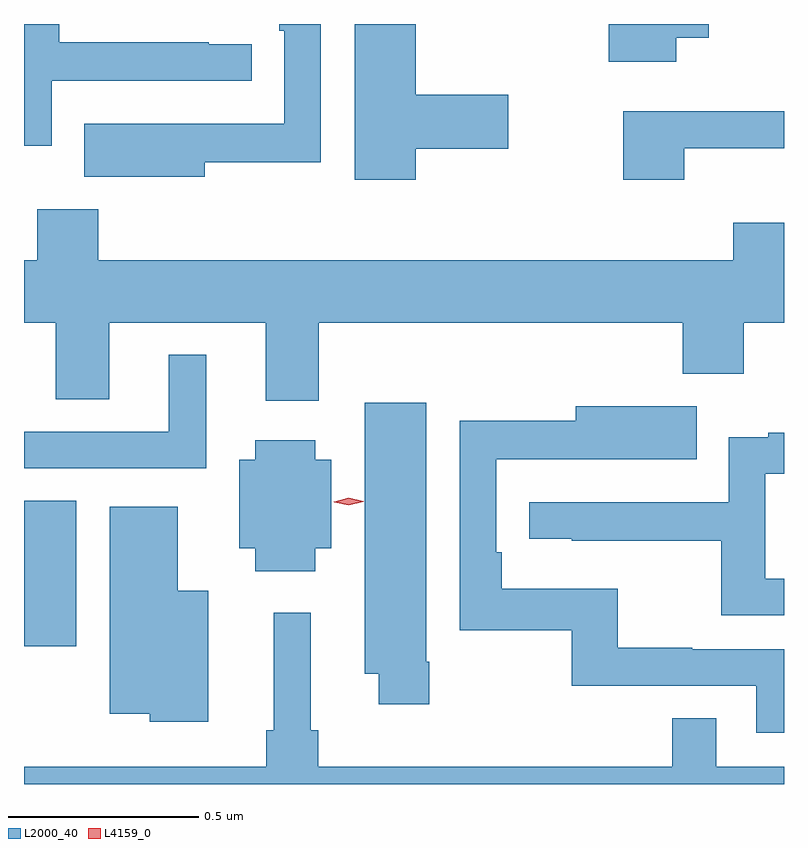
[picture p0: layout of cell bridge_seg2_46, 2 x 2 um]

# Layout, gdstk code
import gdstk
lib = gdstk.Library(unit=1e-6, precision=1e-09)
def R(c, l, rs):  # rectangles x0, y0, x1, y1
    for r in rs: c.add(gdstk.rectangle(r[:2], r[2:], *l))
def P(c, l, *ps):  # polygons
    for p in ps: c.add(gdstk.Polygon(p, *l))
L2000_40 = (2000, 40)
L4159_0 = (4159, 0)

bridge_seg2_46 = lib.new_cell('bridge_seg2_46')
R(bridge_seg2_46, L2000_40, [(981.197,640.124,981.334,640.508)])
P(bridge_seg2_46, L2000_40, [(982.914,641.726),(982.999,641.726),(982.999,641.762),(982.736,641.762),(982.736,641.663),(982.914,641.663)],
  [(981.27,641.613),(981.796,641.613),(981.796,641.709),(981.683,641.709),(981.683,641.714),(981.29,641.714),(981.29,641.762),(981.197,641.762),(981.197,641.441),(981.27,641.441)],
  [(982.228,641.434),(982.471,641.434),(982.471,641.576),(982.228,641.576),(982.228,641.762),(982.067,641.762),(982.067,641.352),(982.228,641.352)],
  [(981.673,641.398),(981.978,641.398),(981.978,641.762),(981.869,641.762),(981.869,641.744),(981.882,641.744),(981.882,641.499),(981.569,641.499),(981.569,641.5),(981.355,641.5),(981.355,641.36),(981.673,641.36)],
  [(982.934,641.435),(983.197,641.435),(983.197,641.532),(983.017,641.532),(983.017,641.533),(982.774,641.533),(982.774,641.352),(982.934,641.352)],
  [(981.973,640.976),(982.931,640.976),(982.931,640.841),(983.091,640.841),(983.091,640.976),(983.197,640.976),(983.197,641.239),(983.063,641.239),(983.063,641.14),(981.392,641.14),(981.392,641.275),(981.232,641.275),(981.232,641.14),(981.197,641.14),(981.197,640.976),(981.281,640.976),(981.281,640.774),(981.421,640.774),(981.421,640.976),(981.833,640.976),(981.833,640.77),(981.973,640.77)],
  [(981.676,640.891),(981.578,640.891),(981.578,640.689),(981.197,640.689),(981.197,640.593),(981.676,640.593)],
  [(982.263,640.084),(982.255,640.084),(982.255,640.765),(982.094,640.765),(982.094,640.052),(982.13,640.052),(982.13,639.972),(982.263,639.972)],
  [(983.197,640.116),(982.955,640.116),(982.955,640.121),(982.759,640.121),(982.759,640.276),(982.454,640.276),(982.454,640.372),(982.44,640.372),(982.44,640.617),(982.753,640.617),(982.753,640.616),(982.967,640.616),(982.967,640.756),(982.649,640.756),(982.649,640.718),(982.344,640.718),(982.344,640.167),(982.638,640.167),(982.638,640.02),(983.124,640.02),(983.124,639.897),(983.197,639.897)],
  [(983.197,640.302),(983.148,640.302),(983.148,640.578),(983.197,640.578),(983.197,640.687),(983.155,640.687),(983.155,640.675),(983.052,640.675),(983.052,640.503),(982.527,640.503),(982.527,640.407),(982.639,640.407),(982.639,640.402),(983.032,640.402),(983.032,640.206),(983.197,640.206)],
  [(981.964,640.382),(982.006,640.382),(982.006,640.615),(981.964,640.615),(981.964,640.666),(981.806,640.666),(981.806,640.615),(981.764,640.615),(981.764,640.382),(981.806,640.382),(981.806,640.322),(981.964,640.322)],
  [(981.682,640.27),(981.601,640.27),(981.601,640.492),(981.422,640.492),(981.422,639.947),(981.528,639.947),(981.528,639.926),(981.682,639.926)],
  [(983.197,639.808),(983.019,639.808),(983.019,639.935),(982.903,639.935),(982.903,639.808),(981.971,639.808),(981.971,639.904),(981.952,639.904),(981.952,640.213),(981.854,640.213),(981.854,639.904),(981.835,639.904),(981.835,639.808),(981.197,639.808),(981.197,639.762),(983.197,639.762)])
P(bridge_seg2_46, L4159_0, [(982.052,640.495),(982.013,640.504),(982.012,640.505),(982.013,640.505),(982.051,640.515),(982.09,640.506),(982.091,640.506),(982.09,640.505)])

lib.write_gds('bridge_seg2_46.gds')
